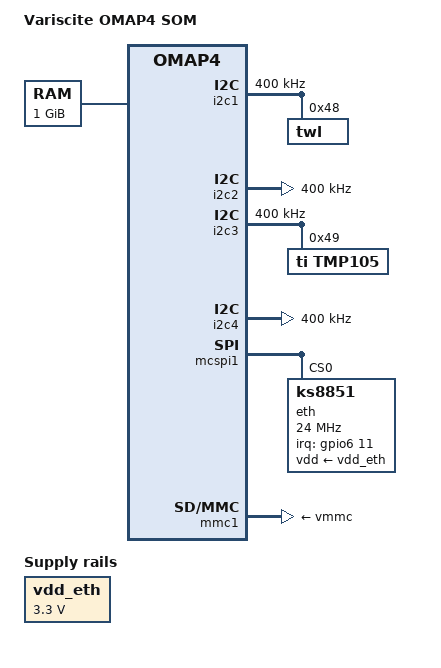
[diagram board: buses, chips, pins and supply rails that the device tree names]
/*
 * Copyright (C) 2012 Variscite Ltd. - http://www.variscite.com
 *
 * This program is free software; you can redistribute it and/or modify
 * it under the terms of the GNU General Public License version 2 as
 * published by the Free Software Foundation.
 */
/dts-v1/;

#include "omap443x.dtsi"

/ {
	model = "Variscite OMAP4 SOM";
	compatible = "var,omap4-var_som", "ti,omap4430", "ti,omap4";

	memory {
		device_type = "memory";
		reg = <0x80000000 0x40000000>; /* 1 GB */
	};

	vdd_eth: fixedregulator@0 {
		compatible = "regulator-fixed";
		regulator-name = "VDD_ETH";
		regulator-min-microvolt = <3300000>;
		regulator-max-microvolt = <3300000>;
		enable-active-high;
		regulator-boot-on;
	};
};

&i2c1 {
	clock-frequency = <400000>;

	twl: twl@48 {
		reg = <0x48>;
		/* SPI = 0, IRQ# = 7, 4 = active high level-sensitive */
		interrupts = <GIC_SPI 7 IRQ_TYPE_LEVEL_HIGH>; /* IRQ_SYS_1N cascaded to gic */
		interrupt-parent = <&gic>;
	};
};

#include "twl6030.dtsi"

&i2c2 {
	clock-frequency = <400000>;
};

&i2c3 {
	clock-frequency = <400000>;

	/*
	 * Temperature Sensor
	 * http://www.ti.com/lit/ds/symlink/tmp105.pdf
	 */
	tmp105@49 {
		compatible = "ti,tmp105";
		reg = <0x49>;
	};
};

&i2c4 {
	clock-frequency = <400000>;
};

&mcspi1 {
	eth@0 {
		compatible = "ks8851";
		spi-max-frequency = <24000000>;
		reg = <0>;
		interrupt-parent = <&gpio6>;
		interrupts = <11 IRQ_TYPE_LEVEL_LOW>; /* gpio line 171 */
		vdd-supply = <&vdd_eth>;
	};
};

&mmc1 {
	vmmc-supply = <&vmmc>;
	ti,bus-width = <8>;
	ti,non-removable;
};

&mmc2 {
	status = "disabled";
};

&mmc3 {
	status = "disabled";
};

&mmc4 {
	status = "disabled";
};

&mmc5 {
	ti,bus-width = <4>;
};
